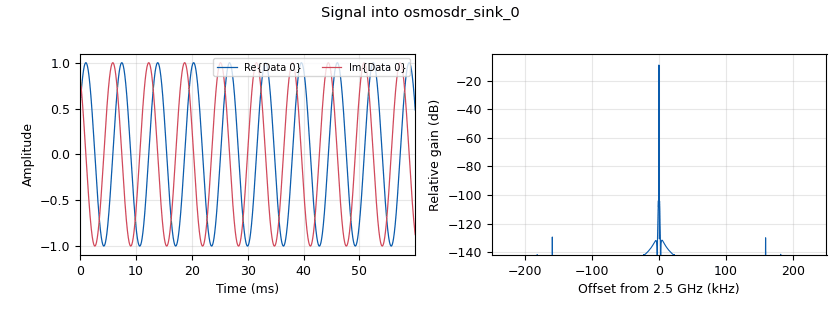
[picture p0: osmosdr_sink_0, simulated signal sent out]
<?xml version='1.0' encoding='utf-8'?>
<?grc format='1' created='3.7.13'?>
<flow_graph>
<block>
<key>options</key>
<param><key>id</key><value>top_block</value></param>
<param><key>generate_options</key><value>qt_gui</value></param>
</block>
<block>
<key>variable</key>
<param><key>id</key><value>band</value></param>
<param><key>value</key><value>0.5e6</value></param>
</block>
<block>
<key>variable</key>
<param><key>id</key><value>f0</value></param>
<param><key>value</key><value>2.5e9</value></param>
</block>
<block>
<key>variable</key>
<param><key>id</key><value>f02</value></param>
<param><key>value</key><value>2*f0</value></param>
</block>
<block>
<key>variable_qtgui_range</key>
<param><key>id</key><value>f0var</value></param>
<param><key>value</key><value>2.5e9</value></param>
<param><key>orient</key><value>Qt.Horizontal</value></param>
<param><key>start</key><value>1e9</value></param>
<param><key>step</key><value>10e6</value></param>
<param><key>stop</key><value>6e9</value></param>
</block>
<block>
<key>variable</key>
<param><key>id</key><value>samp_rate</value></param>
<param><key>value</key><value>0.5e6</value></param>
</block>
<block>
<key>analog_noise_source_x</key>
<param><key>id</key><value>analog_noise_source_x_0</value></param>
<param><key>amp</key><value>1.0</value></param>
<param><key>_enabled</key><value>0</value></param>
<param><key>noise_type</key><value>analog.GR_GAUSSIAN</value></param>
<param><key>type</key><value>complex</value></param>
<param><key>seed</key><value>0</value></param>
</block>
<block>
<key>analog_sig_source_x</key>
<param><key>id</key><value>analog_sig_source_x_0</value></param>
<param><key>amp</key><value>1</value></param>
<param><key>freq</key><value>f0var</value></param>
<param><key>offset</key><value>0</value></param>
<param><key>type</key><value>complex</value></param>
<param><key>samp_rate</key><value>samp_rate</value></param>
<param><key>waveform</key><value>analog.GR_SIN_WAVE</value></param>
</block>
<block>
<key>blocks_file_sink</key>
<param><key>id</key><value>blocks_file_sink_0</value></param>
<param><key>append</key><value>True</value></param>
<param><key>file</key><value>C:\GNURadio\OrderedSamples\Sandisk cruzer blade 16GB\stick10_2p5</value></param>
<param><key>type</key><value>complex</value></param>
</block>
<block>
<key>osmosdr_sink</key>
<param><key>id</key><value>osmosdr_sink_0</value></param>
<param><key>bb_gain0</key><value>0</value></param>
<param><key>freq0</key><value>f0var</value></param>
<param><key>if_gain0</key><value>10</value></param>
<param><key>gain0</key><value>0</value></param>
<param><key>args</key><value>hackrf=0000000000000000f77c60dc2540bac3</value></param>
<param><key>type</key><value>fc32</value></param>
<param><key>sample_rate</key><value>samp_rate</value></param>
<param><key>sync</key><value></value></param>
</block>
<block>
<key>qtgui_freq_sink_x</key>
<param><key>id</key><value>qtgui_freq_sink_x_0</value></param>
<param><key>bw</key><value>band</value></param>
<param><key>fc</key><value>2*f0var</value></param>
<param><key>fftsize</key><value>2048</value></param>
<param><key>showports</key><value>True</value></param>
<param><key>type</key><value>complex</value></param>
<param><key>wintype</key><value>firdes.WIN_BLACKMAN_hARRIS</value></param>
</block>
<block>
<key>qtgui_time_sink_x</key>
<param><key>id</key><value>qtgui_time_sink_x_0</value></param>
<param><key>_enabled</key><value>0</value></param>
<param><key>color1</key><value>"blue"</value></param>
<param><key>label1</key><value></value></param>
<param><key>color2</key><value>"red"</value></param>
<param><key>label2</key><value></value></param>
<param><key>size</key><value>1024</value></param>
<param><key>srate</key><value>samp_rate</value></param>
<param><key>type</key><value>complex</value></param>
</block>
<block>
<key>uhd_usrp_source</key>
<param><key>id</key><value>uhd_usrp_source_0</value></param>
<param><key>ant0</key><value>TX/RX</value></param>
<param><key>bw0</key><value>band</value></param>
<param><key>center_freq0</key><value>2*f0var</value></param>
<param><key>dc_offs_enb0</key><value>True</value></param>
<param><key>iq_imbal_enb0</key><value>True</value></param>
<param><key>norm_gain0</key><value>False</value></param>
<param><key>gain0</key><value>70</value></param>
<param><key>clock_rate</key><value>0.0</value></param>
<param><key>dev_addr</key><value>"addr=192.168.10.2"</value></param>
<param><key>dev_args</key><value>""</value></param>
<param><key>type</key><value>fc32</value></param>
<param><key>samp_rate</key><value>samp_rate</value></param>
<param><key>hide_cmd_port</key><value>False</value></param>
<param><key>hide_lo_controls</key><value>True</value></param>
<param><key>sync</key><value></value></param>
</block>
<connection><source_block_id>analog_noise_source_x_0</source_block_id><sink_block_id>osmosdr_sink_0</sink_block_id><source_key>0</source_key><sink_key>0</sink_key></connection>
<connection><source_block_id>analog_sig_source_x_0</source_block_id><sink_block_id>osmosdr_sink_0</sink_block_id><source_key>0</source_key><sink_key>0</sink_key></connection>
<connection><source_block_id>uhd_usrp_source_0</source_block_id><sink_block_id>blocks_file_sink_0</sink_block_id><source_key>0</source_key><sink_key>0</sink_key></connection>
<connection><source_block_id>uhd_usrp_source_0</source_block_id><sink_block_id>qtgui_freq_sink_x_0</sink_block_id><source_key>0</source_key><sink_key>0</sink_key></connection>
<connection><source_block_id>uhd_usrp_source_0</source_block_id><sink_block_id>qtgui_time_sink_x_0</sink_block_id><source_key>0</source_key><sink_key>0</sink_key></connection>
</flow_graph>
